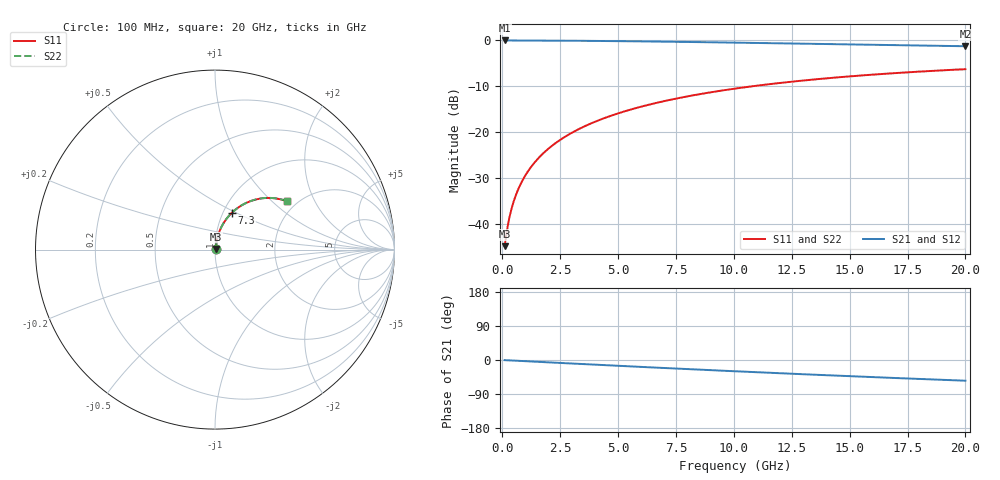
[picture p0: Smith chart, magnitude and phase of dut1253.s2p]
! Touchstone file exported from HFSS 2026.1.0
!  File:  C:/ffzhzh/LocalFiles/Ansys_Project_Files/temp_train_BSMRDL_1253_1783177355_43440.aedt
!  Generated:  11:03:58 PM Jul  4, 2026
!  Design:  BSMRDL
!  Project:  temp_train_BSMRDL_1253_1783177355_43440
! Variables:
!  h_bsmrdl = 3.84um
!  h_ox = 20um
!  h_rdl = 5um
!  h_sub = 80um
!  h_tmrdl = 5um
!  h_tsv = 80um
!  h_via = 3um
!  l_bsmrdl = 837.05um
!  l_sub = 1237.05um
!  l_tmrdl = 200um
!  m_sub = 200um
!  pitch = 44.65um
!  r_tsv = 6um
!  s_tmrdl = 10um
!  w_bsmrdl = 17.92um
!  w_sub = 500um
!  w_tmrdl = 12um
!  x_tsv_center1 = 206um
!  x_tsv_center2 = 1060.97um
!  x_tsv_center3 = 1272.97um
!  x_tsv_center4 = 2127.94um
!  x_tsv_center5 = 2339.94um
!  x_tsv_center6 = 3194.91um
# GHz S MA R 50.000000
! Terminal data exported
! Port[1] = BSM_RDL1_1_T1
! Port[2] = BSM_RDL1_1_T2
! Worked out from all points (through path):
!   200 points, 100 MHz to 20 GHz, reference 50 ohm
!   highest |S21| = -0.04 dB at 100 MHz (marker M1); lowest = -1.3 dB at 20 GHz (marker M2)
!   group delay of S21, straight-line fit = 7.59 ps
!   lowest |S11| = -44.9 dB at 100 MHz (marker M3), VSWR 1.01, Z = 50.4 + j0.356 ohm
!   |S11| at or under -10 dB: start of sweep to 10.85 GHz
!   |S22| runs from -44.9 to -6.3 dB; largest |S21 - S12| = 6e-15
!   S11 on the Smith chart (normalised r, x): 100 MHz: 1.01, +0.01; 7.3 GHz: 1.10, +0.48; 20 GHz: 1.78, +1.25
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0.1  0.005672 38.5  0.9956 -0.3  0.9956 -0.3  0.005672 38.5
! Gamma 0 0 0 0
! Port Impedance 50 0 50 0
0.2  0.00839 56.3  0.9954 -0.6  0.9954 -0.6  0.008389 56.3
0.3  0.01144 64.4  0.9952 -1.0  0.9952 -1.0  0.01144 64.4
0.4  0.01457 69.0  0.995 -1.3  0.995 -1.3  0.01457 69.0
0.5  0.01772 71.8  0.9948 -1.6  0.9948 -1.6  0.01772 71.8
0.6  0.02089 73.8  0.9946 -1.9  0.9946 -1.9  0.02089 73.8
0.8  0.02726 76.2  0.9943 -2.5  0.9943 -2.5  0.02726 76.2
1.1  0.0369 78.0  0.9938 -3.4  0.9938 -3.4  0.0369 78.0
1.3  0.04334 78.5  0.9935 -4.1  0.9935 -4.1  0.04334 78.5
1.6  0.05302 78.8  0.9929 -5.0  0.9929 -5.0  0.05302 78.8
2.1  0.06913 78.5  0.9916 -6.5  0.9916 -6.5  0.06913 78.5
2.7  0.08831 77.5  0.9897 -8.4  0.9897 -8.4  0.08831 77.5
3.5  0.1135 75.6  0.9865 -10.8  0.9865 -10.8  0.1135 75.7
4.2  0.1352 73.8  0.9832 -12.9  0.9832 -12.9  0.1352 73.9
5  0.1594 71.7  0.9789 -15.3  0.9789 -15.3  0.1594 71.7
6.8  0.2116 66.8  0.9676 -20.6  0.9676 -20.6  0.2116 66.8
7.3  0.2255 65.4  0.9641 -22.0  0.9641 -22.0  0.2255 65.4
8.6  0.2603 61.8  0.9544 -25.7  0.9544 -25.7  0.2603 61.9
10.1  0.2982 57.8  0.9425 -29.9  0.9425 -29.9  0.2982 57.9
13.4  0.3724 49.3  0.9148 -38.6  0.9148 -38.6  0.3724 49.4
16.7  0.434 41.3  0.887 -46.9  0.887 -46.9  0.4341 41.4
20  0.4837 33.7  0.8611 -54.6  0.8611 -54.6  0.4838 33.8
